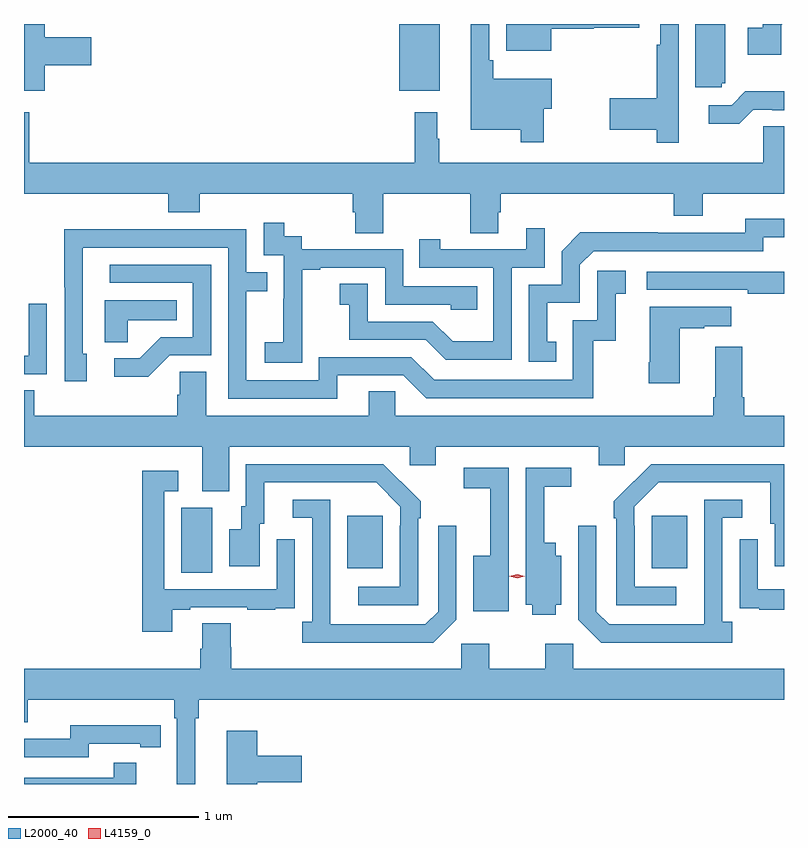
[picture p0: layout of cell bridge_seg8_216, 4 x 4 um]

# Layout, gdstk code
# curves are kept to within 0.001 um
import gdstk
lib = gdstk.Library(unit=1e-6, precision=1e-09)
def R(c, l, rs):  # rectangles x0, y0, x1, y1
    for r in rs: c.add(gdstk.rectangle(r[:2], r[2:], *l))
def P(c, l, *ps):  # polygons
    for p in ps: c.add(gdstk.Polygon(p, *l))
L2000_40 = (2000, 40)
L4159_0 = (4159, 0)

bridge_seg8_216 = lib.new_cell('bridge_seg8_216')
R(bridge_seg8_216, L2000_40, [(147.338,1103.848,147.502,1104.192), (148.211,1103.873,148.399,1104.148), (149.813,1103.873,150.001,1104.148), (148.484,1106.387,148.699,1106.737)])
P(bridge_seg8_216, L2000_40, [(149.956,1106.334),(149.955,1106.334),(149.955,1106.737),(149.859,1106.737),(149.859,1106.627),(149.839,1106.627),(149.839,1106.346),(149.592,1106.346),(149.592,1106.18),(149.839,1106.18),(149.839,1106.112),(149.956,1106.112)],
  [(149.245,1106.291),(149.287,1106.291),(149.287,1106.449),(148.979,1106.449),(148.979,1106.545),(148.959,1106.545),(148.959,1106.737),(148.862,1106.737),(148.862,1106.18),(149.124,1106.18),(149.124,1106.115),(149.245,1106.115)],
  [(150.495,1106.731),(150.501,1106.737),(150.398,1106.737),(150.398,1106.716),(150.318,1106.716),(150.318,1106.576),(150.495,1106.576)],
  [(150.183,1106.424),(150.202,1106.424),(150.202,1106.737),(150.044,1106.737),(150.044,1106.403),(150.183,1106.403)],
  [(149.284,1106.711),(149.508,1106.711),(149.508,1106.716),(149.749,1106.716),(149.749,1106.737),(149.048,1106.737),(149.048,1106.597),(149.284,1106.597)],
  [(146.62,1106.519),(146.863,1106.519),(146.863,1106.666),(146.62,1106.666),(146.62,1106.737),(146.51,1106.737),(146.51,1106.387),(146.62,1106.387)],
  [(150.348,1106.286),(150.448,1106.286),(150.448,1106.283),(150.51,1106.283),(150.51,1106.383),(150.307,1106.383),(150.234,1106.31),(150.114,1106.31),(150.114,1106.213),(150.275,1106.213)],
  [(148.401,1105.844),(148.858,1105.844),(148.858,1105.636),(149.005,1105.636),(149.005,1105.746),(149.018,1105.746),(149.018,1105.844),(149.93,1105.844),(149.93,1105.727),(150.082,1105.727),(150.082,1105.844),(150.51,1105.844),(150.51,1106.198),(150.402,1106.198),(150.402,1106.008),(148.696,1106.008),(148.696,1106.132),(148.684,1106.132),(148.684,1106.272),(148.567,1106.272),(148.567,1106.008),(146.537,1106.008),(146.537,1106.272),(146.51,1106.272),(146.51,1105.844),(147.269,1105.844),(147.269,1105.745),(147.434,1105.745),(147.434,1105.844),(148.241,1105.844),(148.241,1105.746),(148.253,1105.746),(148.253,1105.636),(148.401,1105.636)],
  [(149.312,1105.065),(149.263,1105.065),(149.263,1105.269),(149.436,1105.269),(149.436,1105.47),(149.508,1105.542),(150.402,1105.542),(150.402,1105.614),(150.51,1105.614),(150.51,1105.711),(150.306,1105.711),(150.306,1105.638),(149.846,1105.638),(149.846,1105.64),(149.438,1105.64),(149.34,1105.542),(149.34,1105.365),(149.166,1105.365),(149.166,1104.96),(149.312,1104.96)],
  [(147.975,1105.159),(147.974,1105.159),(147.974,1105.443),(148.069,1105.443),(148.069,1105.455),(148.41,1105.455),(148.41,1105.26),(148.755,1105.26),(148.755,1105.233),(148.895,1105.233),(148.895,1105.356),(148.506,1105.356),(148.506,1105.551),(147.972,1105.551),(147.972,1105.62),(147.88,1105.62),(147.88,1105.69),(147.771,1105.69),(147.771,1105.521),(147.876,1105.521),(147.876,1105.292),(147.875,1105.292),(147.875,1105.063),(147.777,1105.063),(147.777,1104.953),(147.975,1104.953)],
  [(149.076,1105.455),(149.25,1105.455),(149.25,1105.663),(149.153,1105.663),(149.153,1105.551),(148.702,1105.551),(148.702,1105.603),(148.591,1105.603),(148.591,1105.455),(148.98,1105.455),(148.98,1105.066),(148.766,1105.066),(148.662,1105.17),(148.32,1105.17),(148.32,1105.369),(148.173,1105.369),(148.173,1105.259),(148.222,1105.259),(148.222,1105.074),(148.625,1105.074),(148.73,1104.969),(149.076,1104.969)],
  [(148.159,1104.888),(148.506,1104.888),(148.626,1104.768),(149.506,1104.768),(149.506,1105.071),(149.624,1105.071),(149.624,1105.317),(149.677,1105.317),(149.677,1105.438),(149.526,1105.438),(149.526,1105.179),(149.397,1105.179),(149.397,1104.864),(148.668,1104.864),(148.548,1104.984),(148.062,1104.984),(148.062,1104.861),(147.681,1104.861),(147.681,1105.33),(147.791,1105.33),(147.791,1105.431),(147.681,1105.431),(147.681,1105.656),(147.185,1105.656),(147.185,1105.658),(146.722,1105.658),(146.722,1105.351),(146.724,1105.351),(146.724,1104.858),(146.839,1104.858),(146.839,1105.002),(146.82,1105.002),(146.82,1105.56),(147.585,1105.56),(147.585,1104.765),(148.159,1104.765)],
  [(147.276,1104.993),(147.495,1104.993),(147.495,1105.47),(146.961,1105.47),(146.961,1105.374),(147.399,1105.374),(147.399,1105.089),(147.23,1105.089),(147.119,1104.978),(146.985,1104.978),(146.985,1104.881),(147.163,1104.881)],
  [(150.51,1105.434),(149.787,1105.434),(149.787,1105.338),(150.319,1105.338),(150.319,1105.318),(150.51,1105.318)],
  [(147.057,1105.178),(147.314,1105.178),(147.314,1105.282),(146.936,1105.282),(146.936,1105.063),(147.057,1105.063)],
  [(146.631,1105.264),(146.535,1105.264),(146.535,1104.99),(146.51,1104.99),(146.51,1104.894),(146.631,1104.894)],
  [(149.962,1105.135),(150.089,1105.135),(150.089,1105.145),(150.232,1105.145),(150.232,1105.249),(149.804,1105.249),(149.804,1104.958),(149.797,1104.958),(149.797,1104.846),(149.962,1104.846)],
  [(147.589,1104.512),(148.539,1104.512),(148.539,1104.414),(148.678,1104.414),(148.678,1104.512),(149.534,1104.512),(149.534,1104.414),(149.673,1104.414),(149.673,1104.512),(150.51,1104.512),(150.51,1104.676),(150.302,1104.676),(150.302,1104.772),(150.289,1104.772),(150.289,1105.039),(150.149,1105.039),(150.149,1104.772),(150.137,1104.772),(150.137,1104.676),(148.464,1104.676),(148.464,1104.803),(148.325,1104.803),(148.325,1104.676),(147.469,1104.676),(147.469,1104.908),(147.33,1104.908),(147.33,1104.785),(147.317,1104.785),(147.317,1104.676),(146.564,1104.676),(146.564,1104.809),(146.51,1104.809),(146.51,1104.512),(147.449,1104.512),(147.449,1104.277),(147.589,1104.277)],
  [(149.944,1103.775),(149.724,1103.775),(149.724,1104.095),(149.721,1104.095),(149.721,1104.195),(149.85,1104.324),(150.437,1104.324),(150.437,1104.108),(150.461,1104.108),(150.461,1103.883),(150.51,1103.883),(150.51,1104.42),(149.81,1104.42),(149.613,1104.225),(149.613,1104.137),(149.628,1104.137),(149.628,1103.679),(149.944,1103.679)],
  [(148.584,1104.137),(148.599,1104.137),(148.599,1104.225),(148.402,1104.42),(147.678,1104.42),(147.678,1104.198),(147.653,1104.198),(147.653,1104.079),(147.59,1104.079),(147.59,1103.883),(147.751,1103.883),(147.751,1104.108),(147.775,1104.108),(147.775,1104.324),(148.363,1104.324),(148.491,1104.195),(148.491,1104.095),(148.488,1104.095),(148.488,1103.775),(148.269,1103.775),(148.269,1103.679),(148.584,1103.679)],
  [(149.308,1103.681),(149.338,1103.681),(149.338,1103.938),(149.308,1103.938),(149.308,1104.007),(149.249,1104.007),(149.249,1104.301),(149.389,1104.301),(149.389,1104.402),(149.151,1104.402),(149.151,1103.903),(149.15,1103.903),(149.15,1103.681),(149.186,1103.681),(149.186,1103.627),(149.308,1103.627)],
  [(149.061,1104.402),(148.824,1104.402),(148.824,1104.294),(148.964,1104.294),(148.964,1103.938),(148.874,1103.938),(148.874,1103.645),(149.061,1103.645)],
  [(147.289,1103.655),(147.385,1103.655),(147.385,1103.667),(147.685,1103.667),(147.685,1103.655),(147.833,1103.655),(147.833,1103.661),(147.935,1103.661),(147.935,1103.77),(147.936,1103.77),(147.936,1104.025),(147.84,1104.025),(147.84,1103.763),(147.249,1103.763),(147.249,1104.279),(147.322,1104.279),(147.322,1104.385),(147.133,1104.385),(147.133,1103.538),(147.289,1103.538)],
  [(150.238,1103.59),(150.186,1103.59),(150.186,1104.138),(150.289,1104.138),(150.289,1104.234),(150.09,1104.234),(150.089,1103.577),(149.589,1103.577),(149.523,1103.643),(149.523,1104.097),(149.427,1104.097),(149.427,1103.601),(149.548,1103.48),(150.238,1103.48)],
  [(148.785,1103.601),(148.785,1104.097),(148.689,1104.097),(148.689,1103.643),(148.623,1103.577),(148.123,1103.577),(148.122,1104.234),(147.924,1104.234),(147.924,1104.138),(148.026,1104.138),(148.026,1103.59),(147.975,1103.59),(147.975,1103.48),(148.664,1103.48)],
  [(150.51,1103.763),(150.372,1103.763),(150.372,1104.025),(150.276,1104.025),(150.276,1103.77),(150.277,1103.77),(150.277,1103.661),(150.379,1103.661),(150.379,1103.655),(150.51,1103.655)],
  [(147.412,1103.084),(147.431,1103.084),(147.431,1103.18),(150.51,1103.18),(150.51,1103.344),(149.4,1103.344),(149.4,1103.476),(149.254,1103.476),(149.254,1103.344),(148.959,1103.344),(148.959,1103.476),(148.812,1103.476),(148.812,1103.344),(147.602,1103.344),(147.602,1103.457),(147.597,1103.457),(147.597,1103.582),(147.449,1103.582),(147.449,1103.45),(147.437,1103.45),(147.437,1103.344),(146.51,1103.344),(146.51,1103.063),(146.53,1103.063),(146.53,1103.18),(147.302,1103.18),(147.302,1103.084),(147.315,1103.084),(147.315,1102.737),(147.412,1102.737)],
  [(146.85,1102.95),(147.122,1102.95),(147.122,1102.93),(147.23,1102.93),(147.23,1103.046),(147.122,1103.046),(147.122,1103.047),(146.754,1103.047),(146.754,1102.974),(146.51,1102.974),(146.51,1102.878),(146.85,1102.878)],
  [(147.737,1102.745),(147.973,1102.745),(147.973,1102.887),(147.737,1102.887),(147.737,1103.017),(147.578,1103.017),(147.578,1102.737),(147.737,1102.737)],
  [(147.101,1102.849),(146.983,1102.849),(146.983,1102.77),(146.51,1102.77),(146.51,1102.737),(147.101,1102.737)])
P(bridge_seg8_216, L4159_0, [(149.105,1103.821),(149.065,1103.831),(149.064,1103.831),(149.065,1103.831),(149.105,1103.841),(149.145,1103.831),(149.146,1103.83),(149.145,1103.83)])

lib.write_gds('bridge_seg8_216.gds')
